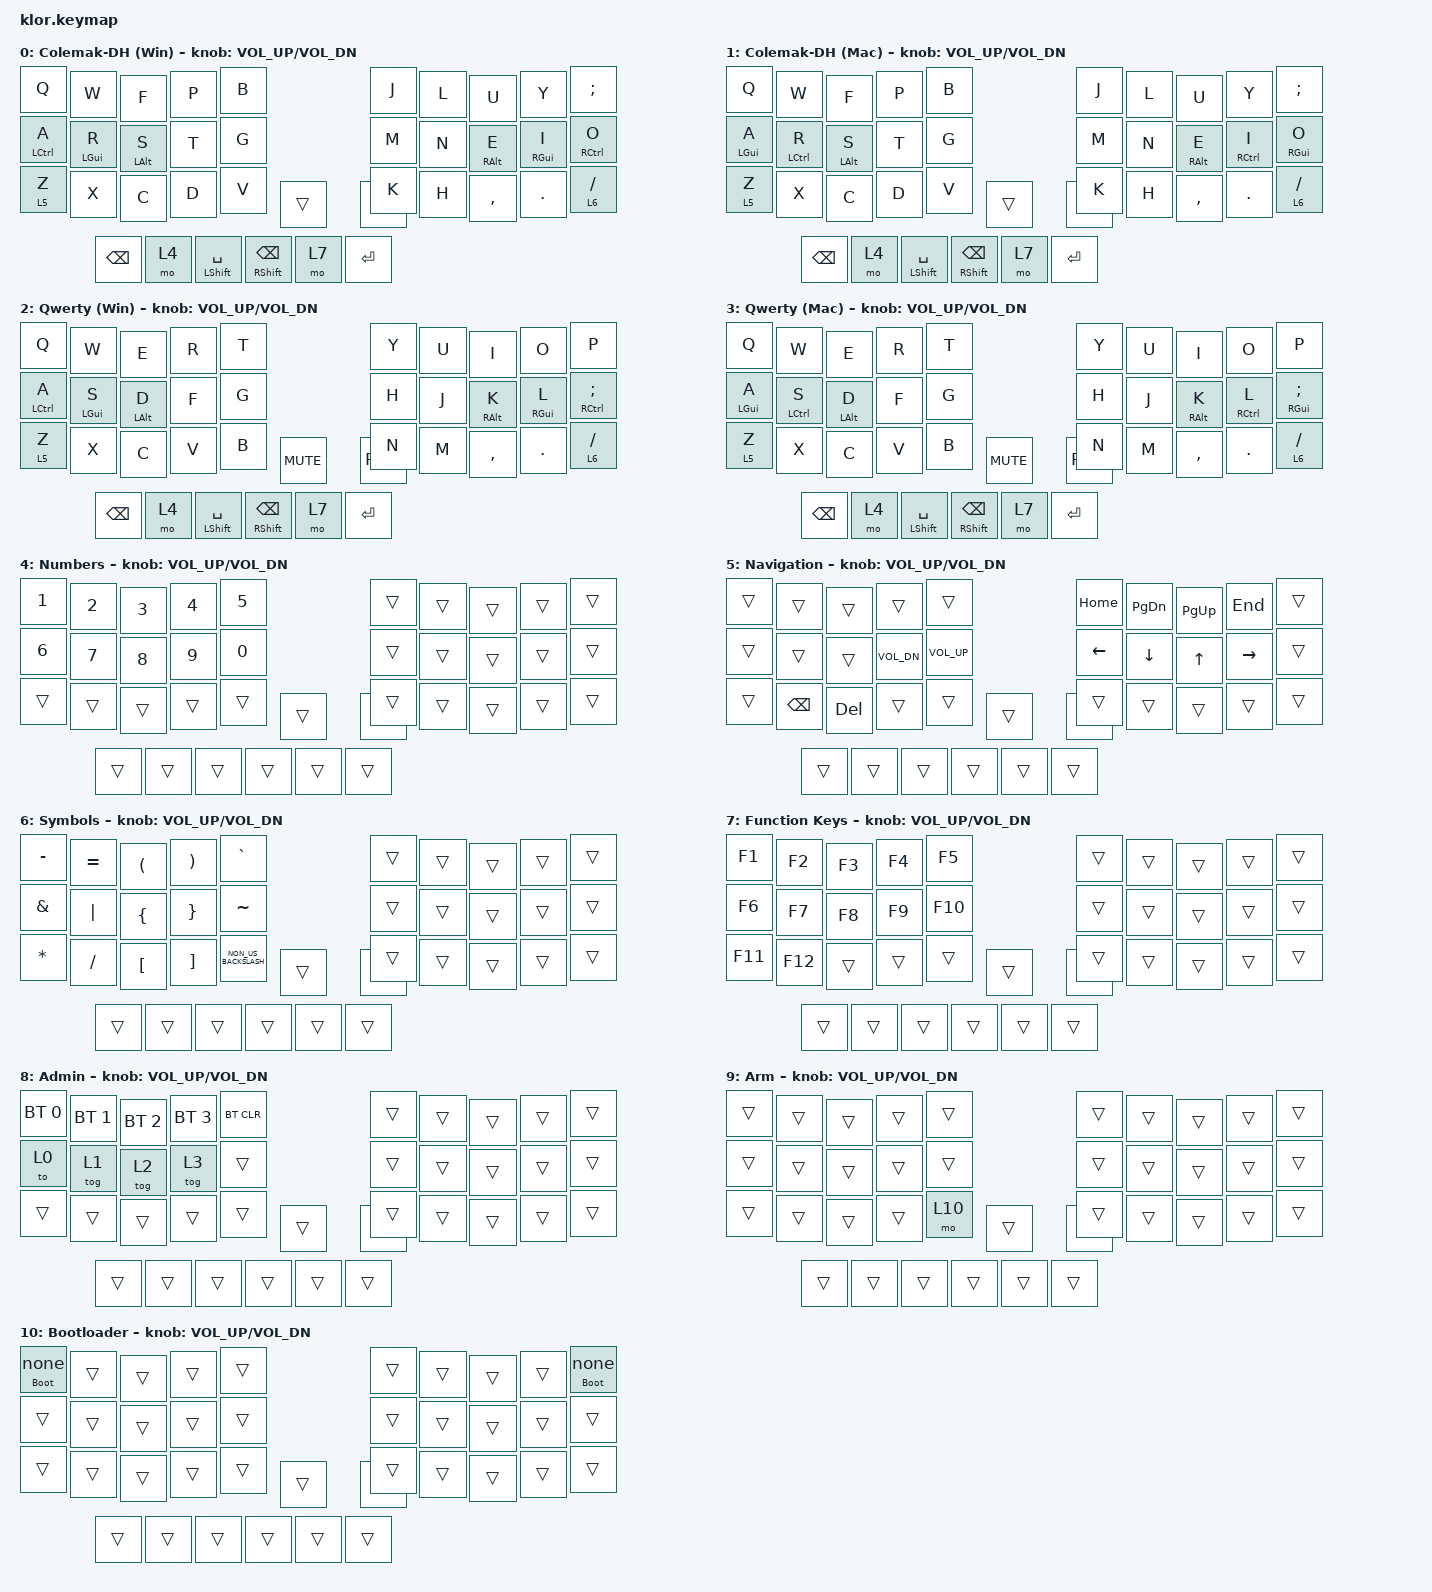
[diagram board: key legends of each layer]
/*
 * Copyright (c) 2020 The ZMK Contributors
 * SPDX-License-Identifier: MIT
 */

/* minimal-test branch: full layer set + hold-tap behaviors + combos, synced
 * to wireless-corne-zmk-config's current keymap (hml/hmr tuning, outer-thumb
 * backspace/enter, win/mac combo variants -- see blecorne.keymap). Still no
 * ZMK Studio (studio_unlock -> trans below), no GATT sync.
 *
 * Position numbering follows the `map` order in klor.dtsi's default_transform:
 *   row0:  0-9    (5 left, 5 right)
 *   row1:  10-19  (5 left, 5 right)
 *   row2:  20-24 left, 25-26 inner media keys, 27-31 right
 *   thumb: 32-34 left, 35-37 right
 */

#include <behaviors.dtsi>
#include <dt-bindings/zmk/bt.h>
#include <dt-bindings/zmk/keys.h>

#define KEYS_L  0  1  2  3  4  10 11 12 13 14 20 21 22 23 24
#define KEYS_R  5  6  7  8  9  15 16 17 18 19 27 28 29 30 31
#define THUMBS  32 33 34 35 36 37

/ {
    behaviors {
        hml: hml {
            compatible = "zmk,behavior-hold-tap";
            #binding-cells = <2>;
            flavor = "balanced";
            tapping-term-ms = <200>;
            quick-tap-ms = <175>;
            require-prior-idle-ms = <150>;
            hold-trigger-key-positions = <KEYS_R THUMBS>;
            bindings = <&kp>, <&kp>;
        };

        hmr: hmr {
            compatible = "zmk,behavior-hold-tap";
            #binding-cells = <2>;
            flavor = "balanced";
            tapping-term-ms = <200>;
            quick-tap-ms = <175>;
            require-prior-idle-ms = <150>;
            hold-trigger-key-positions = <KEYS_L THUMBS>;
            bindings = <&kp>, <&kp>;
        };

        /* Thumb shift/key: tap = key, hold = modifier, tap-then-hold = repeat key */
        thm: thm {
            compatible = "zmk,behavior-hold-tap";
            #binding-cells = <2>;
            flavor = "balanced";
            tapping-term-ms = <200>;
            quick-tap-ms = <175>;
            bindings = <&kp>, <&kp>;
        };

        /* 3-second hold before &bootloader fires; a quick tap does nothing.
         * Bound at two positions in bootloader_layer (Q and `;`) -- each
         * tracks its own hold/tap state independently, same as hml/hmr/thm
         * already being reused across many positions above. hold-preferred
         * (not balanced) so nothing can resolve this early via another
         * key's interrupt-release; not that anything else should be
         * pressed during this hold anyway.
         *
         * #binding-cells must be <2> -- zmk,behavior-hold-tap's own
         * devicetree binding (two_param.yaml) hardcodes it as a const,
         * non-negotiable even though both children here take 0 params of
         * their own. Each child only ever receives ONE forwarded param
         * (hold gets param1, tap gets param2 -- see behavior_hold_tap.c's
         * press_hold_binding/press_tap_binding), which &bootloader/&none
         * both just ignore -- so the two dummy 0s at each call site below
         * are inert placeholders, not real arguments. */
        bootloader_hold: bootloader_hold {
            compatible = "zmk,behavior-hold-tap";
            #binding-cells = <2>;
            flavor = "hold-preferred";
            tapping-term-ms = <3000>;
            bindings = <&bootloader>, <&none>;
        };
    };

    conditional_layers {
        compatible = "zmk,conditional-layers";

        /* Holding NUM (mo 4) + FUNC (mo 7) simultaneously activates ADMIN (8).
         * Costs no dedicated thumb. Mac toggle in ADMIN resets on power cycle —
         * keyboard always boots in Windows mode, which is intended.
         *
         * ADMIN (then-layer) must be numbered higher than every layer in
         * if-layers -- see admin_layer's comment in the keymap block for why. */

        admin {
            if-layers = <4 7>;
            then-layer = <8>;
        };

        /* Holding NUM (mo 4) + NAV (lt 5, via Z) "arms" V (position 24) with
         * &mo 10 -- see arm_layer's comment. Releasing Num/Nav afterward does
         * NOT drop this: ZMK resolves a key's binding once, at its own
         * press, from whatever layers were active at that instant (see
         * zmk_keymap_position_state_changed's zmk_keymap_active_behavior_layer
         * snapshot in zmk's keymap.c) -- so once V is pressed while this
         * layer is active, V's own hold keeps layer 10 open independent of
         * Num/Nav's state afterward. */

        arm {
            if-layers = <4 5>;
            then-layer = <9>;
        };
    };

    combos {
        compatible = "zmk,combos";

        /* Positions reference layer 0. No 'layers' restriction — combos fire in
         * all contexts (base, MAC overlay, and utility layers). */
        /* Non-adjacent combos — lower roll risk, no prior-idle guard needed */

        combo_tab {
            timeout-ms = <40>;
            key-positions = <0 1>;
            bindings = <&kp TAB>;
        };

        combo_ret {
            timeout-ms = <40>;
            key-positions = <0 3>;
            bindings = <&kp RET>;
        };

        combo_esc {
            timeout-ms = <40>;
            key-positions = <10 13>;
            bindings = <&kp ESC>;
        };

        combo_sqt {
            timeout-ms = <40>;
            key-positions = <18 19>;
            bindings = <&kp SQT>;
        };

        /* Adjacent/roll-prone combos — require-prior-idle-ms 150 gates fast typing
         * rolls. If misfires persist, raise timeout-ms (primary tuning knob).
         *
         * Win/Mac split: base profile layer (0 Colemak-Win, 2 Qwerty-Win vs
         * 1 Colemak-Mac, 3 Qwerty-Mac) stays active underneath any stacked momentary layer
         * (NUM/NAV/SYM/FUNC/ADMIN), so restricting by base layer here still
         * fires correctly while those are held. */

        combo_undo {
            timeout-ms = <40>;
            require-prior-idle-ms = <150>;
            key-positions = <20 34>;
            layers = <0 2>;
            bindings = <&kp LC(Z)>;
        };

        combo_undo_mac {
            timeout-ms = <40>;
            require-prior-idle-ms = <150>;
            key-positions = <20 34>;
            layers = <1 3>;
            bindings = <&kp LG(Z)>;
        };

        combo_cut {
            timeout-ms = <40>;
            require-prior-idle-ms = <150>;
            key-positions = <20 21>;
            layers = <0 2>;
            bindings = <&kp LC(X)>;
        };

        combo_cut_mac {
            timeout-ms = <40>;
            require-prior-idle-ms = <150>;
            key-positions = <20 21>;
            layers = <1 3>;
            bindings = <&kp LG(X)>;
        };

        combo_copy {
            timeout-ms = <40>;
            require-prior-idle-ms = <150>;
            key-positions = <21 22>;
            layers = <0 2>;
            bindings = <&kp LC(C)>;
        };

        combo_copy_mac {
            timeout-ms = <40>;
            require-prior-idle-ms = <150>;
            key-positions = <21 22>;
            layers = <1 3>;
            bindings = <&kp LG(C)>;
        };

        combo_paste {
            timeout-ms = <40>;
            require-prior-idle-ms = <150>;
            key-positions = <22 23>;
            layers = <0 2>;
            bindings = <&kp LC(V)>;
        };

        combo_paste_mac {
            timeout-ms = <40>;
            require-prior-idle-ms = <150>;
            key-positions = <22 23>;
            layers = <1 3>;
            bindings = <&kp LG(V)>;
        };

        /* Both shift thumbs simultaneously → Caps Word */
        combo_caps_word {
            timeout-ms = <50>;
            key-positions = <34 35>;
            bindings = <&caps_word>;
        };
    };

    keymap {
        compatible = "zmk,keymap";

        /* COLEMAK-DH WIN — default/base layer (layer 0), Windows homerow mods (GACS).
         * Layout: Q W F P B | J L U Y ;
         *         A R S T G | M N E I O
         *         Z X C D V | K H , . /
         * Always boots here; the other three variants are &tog'd on top from ADMIN. */

        colemak_win_layer {
            label = "Colemak-DH (Win)";
            bindings = <
&kp Q         &kp W        &kp F        &kp P  &kp B             &kp J            &kp L  &kp U        &kp Y        &kp SEMI
&hml LCTRL A  &hml LGUI R  &hml LALT S  &kp T  &kp G             &kp M            &kp N  &hmr RALT E  &hmr RGUI I  &hmr RCTRL O
&lt 5 Z       &kp X        &kp C        &kp D  &kp V  &trans     &trans    &kp K  &kp H  &kp COMMA    &kp DOT      &lt 6 FSLH
                          &kp BSPC     &mo 4  &thm LSHFT SPACE  &thm RSHFT BSPC  &mo 7  &kp RET
            >;
            sensor-bindings = <&inc_dec_kp C_VOL_UP C_VOL_DN>;
        };

        /* COLEMAK-DH MAC — full base layer with macOS homerow mods (Ctrl↔GUI swapped).
         * Activated via &tog 1 from ADMIN. &tog state is runtime-only (not written
         * to NVS), so this layer is always off on power cycle. */

        colemak_mac_layer {
            label = "Colemak-DH (Mac)";
            bindings = <
&kp Q         &kp W        &kp F        &kp P  &kp B             &kp J            &kp L  &kp U         &kp Y        &kp SEMI
&hml LGUI A   &hml LCTRL R &hml LALT S  &kp T  &kp G             &kp M            &kp N  &hmr RALT E   &hmr RCTRL I &hmr RGUI O
&lt 5 Z       &kp X        &kp C        &kp D  &kp V  &trans     &trans    &kp K  &kp H  &kp COMMA     &kp DOT      &lt 6 FSLH
                          &kp BSPC     &mo 4  &thm LSHFT SPACE  &thm RSHFT BSPC  &mo 7  &kp RET
            >;
            sensor-bindings = <&inc_dec_kp C_VOL_UP C_VOL_DN>;
        };

        /* QWERTY WIN — full base layer with Windows homerow mods (GACS).
         * Activated via &tog 2 from ADMIN. */

        qwerty_win_layer {
            label = "Qwerty (Win)";
            bindings = <
&kp Q         &kp W        &kp E        &kp R  &kp T             &kp Y            &kp U  &kp I        &kp O        &kp P
&hml LCTRL A  &hml LGUI S  &hml LALT D  &kp F  &kp G             &kp H            &kp J  &hmr RALT K  &hmr RGUI L  &hmr RCTRL SEMI
&lt 5 Z       &kp X        &kp C        &kp V  &kp B  &kp C_MUTE &kp C_PP  &kp N  &kp M  &kp COMMA    &kp DOT      &lt 6 FSLH
                          &kp BSPC     &mo 4  &thm LSHFT SPACE  &thm RSHFT BSPC  &mo 7  &kp RET
            >;
            sensor-bindings = <&inc_dec_kp C_VOL_UP C_VOL_DN>;
        };

        /* QWERTY MAC — full base layer with macOS homerow mods (Ctrl↔GUI swapped on A/S
         * and L/SEMI only; D and K keep the same mod both ways). Spelled out in full
         * (not `trans`-overlaid on qwerty_win) since layer 0 is Colemak now, not Qwerty —
         * `trans` here would fall through to Colemak letters otherwise.
         * Activated via &tog 3 from ADMIN. */

        qwerty_mac_layer {
            label = "Qwerty (Mac)";
            bindings = <
&kp Q         &kp W        &kp E        &kp R  &kp T             &kp Y            &kp U  &kp I        &kp O        &kp P
&hml LGUI A   &hml LCTRL S &hml LALT D  &kp F  &kp G             &kp H            &kp J  &hmr RALT K  &hmr RCTRL L &hmr RGUI SEMI
&lt 5 Z       &kp X        &kp C        &kp V  &kp B  &kp C_MUTE &kp C_PP  &kp N  &kp M  &kp COMMA    &kp DOT      &lt 6 FSLH
                          &kp BSPC     &mo 4  &thm LSHFT SPACE  &thm RSHFT BSPC  &mo 7  &kp RET
            >;
            sensor-bindings = <&inc_dec_kp C_VOL_UP C_VOL_DN>;
        };

        /* NUM — left: 1-5 top row, 6-0 homerow; right: &trans */

        num_layer {
            label = "Numbers";
            bindings = <
&kp NUMBER_1  &kp NUMBER_2  &kp NUMBER_3  &kp NUMBER_4  &kp N5             &trans  &trans  &trans  &trans  &trans
&kp NUMBER_6  &kp N7        &kp N8        &kp NUMBER_9  &kp NUMBER_0       &trans  &trans  &trans  &trans  &trans
&trans        &trans        &trans        &trans        &trans  &trans    &trans  &trans  &trans  &trans  &trans  &trans
                            &trans        &trans        &trans             &trans  &trans  &trans
            >;
            sensor-bindings = <&inc_dec_kp C_VOL_UP C_VOL_DN>;
        };

        /* NAV — right homerow: hjkl arrows; right top: home/pgup/pgdn/end;
         * right bottom: Ctrl+Left/Right word motions; left: del + vol */

        nav_layer {
            label = "Navigation";
            bindings = <
&trans  &trans  &trans      &trans        &trans        &kp HOME  &kp PAGE_DOWN  &kp PAGE_UP  &kp END    &trans
&trans  &trans  &trans      &kp C_VOL_DN  &kp C_VOL_UP  &kp LEFT  &kp DOWN       &kp UP       &kp RIGHT  &trans
&trans  &kp BSPC &kp DELETE &trans        &trans  &trans  &trans  &trans         &trans       &trans     &trans  &trans
                            &trans        &trans        &trans    &trans         &trans       &trans
            >;
            sensor-bindings = <&inc_dec_kp C_VOL_UP C_VOL_DN>;
        };

        sym_layer {
            label = "Symbols";
            bindings = <
&kp MINUS      &kp EQUAL  &kp LEFT_PARENTHESIS  &kp RIGHT_PARENTHESIS  &kp GRAVE             &trans  &trans  &trans  &trans  &trans
&kp AMPERSAND  &kp PIPE   &kp LEFT_BRACE        &kp RIGHT_BRACE        &kp TILDE             &trans  &trans  &trans  &trans  &trans
&kp ASTERISK   &kp SLASH  &kp LEFT_BRACKET      &kp RIGHT_BRACKET      &kp NON_US_BACKSLASH  &trans  &trans  &trans  &trans  &trans  &trans  &trans
                          &trans                &trans                 &trans                &trans  &trans  &trans
            >;
            sensor-bindings = <&inc_dec_kp C_VOL_UP C_VOL_DN>;
        };

        func_layer {
            label = "Function Keys";
            bindings = <
&kp F1   &kp F2   &kp F3  &kp F4  &kp F5   &trans  &trans  &trans  &trans  &trans
&kp F6   &kp F7   &kp F8  &kp F9  &kp F10  &trans  &trans  &trans  &trans  &trans
&kp F11  &kp F12  &trans  &trans  &trans  &trans   &trans  &trans  &trans  &trans  &trans  &trans
                  &trans  &trans  &trans   &trans  &trans  &trans
            >;
            sensor-bindings = <&inc_dec_kp C_VOL_UP C_VOL_DN>;
        };

        /* ADMIN — conditional: NUM(4) + FUNC(7) held simultaneously. Must be
         * the highest-numbered layer in this file: ZMK resolves each key
         * position from the highest *active* layer down, taking the first
         * non-transparent binding it finds, regardless of which layer is
         * "conditional" -- if ADMIN sat below FUNC (its own trigger), FUNC's
         * real F-key bindings at the same row0/row1 positions would always
         * win the instant the chord fires, making ADMIN's own bindings
         * unreachable. This was a real bug (not just a display quirk): the
         * OLED's "highest active layer" name display surfaced it as
         * permanently showing "Func" while holding the chord, matching what
         * was actually happening -- FUNC's bindings really were winning.
         *
         * Top row left: BT device select 0-3, BT clear.
         * Top row right: unused (sys_reset/bootloader moved to the dedicated
         * Bootloader layer -- see arm_layer/bootloader_layer below).
         * Homerow left: to 0 = back to Colemak-DH (Win) default (deactivates
         * every other active layer, including whichever &tog is on -- see
         * `&to`'s docs), tog 1 = Colemak Mac, tog 2 = Qwerty Win, tog 3 =
         * Qwerty Mac.
         * Homerow right H: studio unlock -- trans for now, no Studio this round.
         * All tog states are runtime-only — always off on power cycle (Colemak-DH Win default). */

        admin_layer {
            label = "Admin";
            bindings = <
&bt BT_SEL 0  &bt BT_SEL 1  &bt BT_SEL 2  &bt BT_SEL 3  &bt BT_CLR  &trans  &trans  &trans  &trans  &trans
&to 0         &tog 1        &tog 2        &tog 3        &trans      &trans  &trans  &trans  &trans  &trans
&trans        &trans        &trans        &trans        &trans  &trans   &trans    &trans       &trans  &trans  &trans  &trans
                            &trans        &trans        &trans      &trans          &trans       &trans
            >;
            sensor-bindings = <&inc_dec_kp C_VOL_UP C_VOL_DN>;
        };

        /* ARM — conditional: NUM(4) + NAV(5) held simultaneously "arms" V
         * (position 24) with &mo 10. See conditional_layers's `arm` entry
         * comment for why releasing Num/Nav afterward doesn't drop this --
         * V's own hold is what keeps BOOTLOADER (layer 10) open from here on. */

        arm_layer {
            label = "Arm";
            bindings = <
&trans  &trans  &trans  &trans  &trans        &trans  &trans  &trans  &trans  &trans
&trans  &trans  &trans  &trans  &trans        &trans  &trans  &trans  &trans  &trans
&trans  &trans  &trans  &trans  &mo 10  &trans  &trans   &trans  &trans  &trans  &trans  &trans
                        &trans  &trans  &trans          &trans  &trans  &trans
            >;
            sensor-bindings = <&inc_dec_kp C_VOL_UP C_VOL_DN>;
        };

        /* BOOTLOADER — only reachable by holding V after arming it via
         * ARM (Num+Nav), see above. Q and `;` each need an independent
         * 3-second hold (bootloader_hold, in behaviors{} above) before
         * doing anything -- a quick tap is a no-op (&none).
         *
         * &bootloader has locality = BEHAVIOR_LOCALITY_EVENT_SOURCE (ZMK's
         * app/src/behaviors/behavior_reset.c): it reboots whichever
         * physical half the triggering keypress actually originated from,
         * not always the central -- confirmed by reading ZMK's own
         * behavior.c dispatch (BEHAVIOR_LOCALITY_EVENT_SOURCE case calls
         * zmk_split_central_invoke_behavior() for non-local sources). That
         * only holds for a binding resolved directly from a real keymap
         * position, though -- combos always tag their synthesized event
         * `.source = ZMK_POSITION_STATE_CHANGE_SOURCE_LOCAL` (see zmk's
         * combo.c), which would make a combo-bound &bootloader always
         * reboot the central. Q/`;` are plain direct position bindings
         * here specifically to preserve that routing: Q (position 0,
         * always physically on the left) reboots the central; `;`
         * (position 9, always physically on the right) reboots the
         * peripheral. Hold-tap itself preserves the original event's
         * source when it fires its hold binding (behavior_hold_tap.c
         * replays `.source = hold_tap->source`), so wrapping &bootloader
         * in bootloader_hold doesn't break this.
         *
         * Reboot the right half BEFORE the left: once the central (left)
         * reboots, it stops running ZMK entirely, so the peripheral has no
         * central left to resolve anything through -- holding `;`
         * afterward does nothing. Don't hold `;` and Q at the same time
         * either: if both fire together, the central's own reboot can cut
         * its BLE radio before the "reboot yourself" message to the
         * peripheral finishes sending, leaving the right half un-rebooted
         * with no indication why. Do them strictly one at a time, right
         * first, fully confirmed, before starting Q. */

        bootloader_layer {
            label = "Bootloader";
            bindings = <
&bootloader_hold 0 0  &trans  &trans  &trans  &trans        &trans  &trans  &trans  &trans  &bootloader_hold 0 0
&trans            &trans  &trans  &trans  &trans        &trans  &trans  &trans  &trans  &trans
&trans            &trans  &trans  &trans  &trans  &trans  &trans   &trans  &trans  &trans  &trans  &trans
                          &trans  &trans  &trans          &trans  &trans  &trans
            >;
            sensor-bindings = <&inc_dec_kp C_VOL_UP C_VOL_DN>;
        };
    };
};
